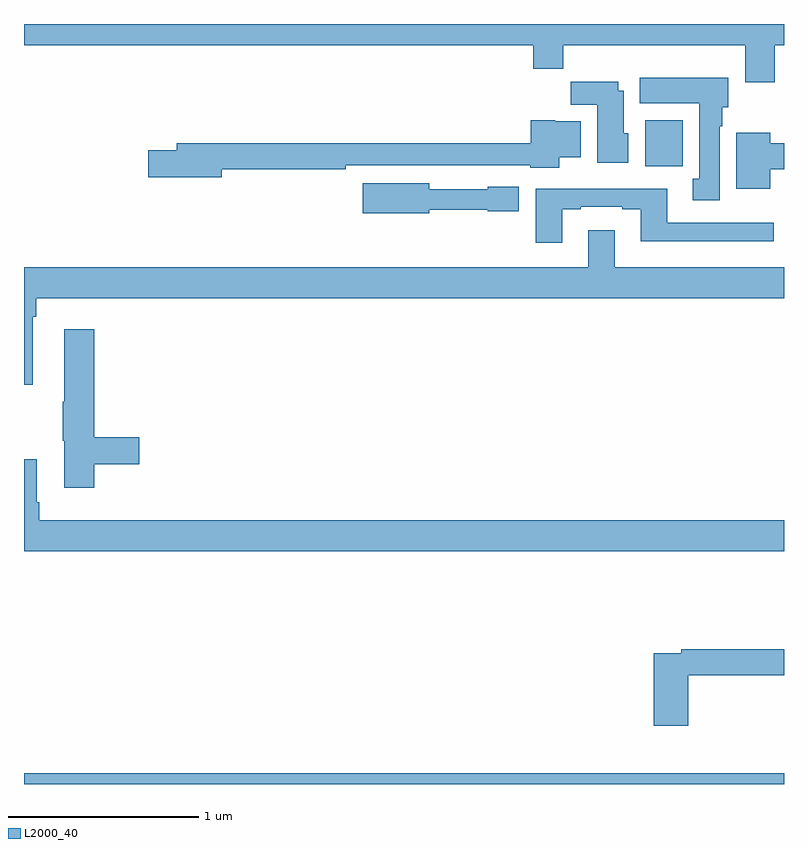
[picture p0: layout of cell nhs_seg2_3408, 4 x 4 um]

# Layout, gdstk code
import gdstk
lib = gdstk.Library(unit=1e-6, precision=1e-09)
def R(c, l, rs):  # rectangles x0, y0, x1, y1
    for r in rs: c.add(gdstk.rectangle(r[:2], r[2:], *l))
def P(c, l, *ps):  # polygons
    for p in ps: c.add(gdstk.Polygon(p, *l))
L2000_40 = (2000, 40)

nhs_seg2_3408 = lib.new_cell('nhs_seg2_3408')
R(nhs_seg2_3408, L2000_40, [(291,591.8,295,591.856), (294.269,595.052,294.466,595.294)])
P(nhs_seg2_3408, L2000_40, [(294.95,595.688),(295,595.688),(295,595.8),(291,595.8),(291,595.688),(293.681,595.688),(293.681,595.564),(293.837,595.564),(293.837,595.688),(294.797,595.688),(294.797,595.494),(294.95,595.494)],
  [(294.661,595.262),(294.676,595.262),(294.676,595.362),(294.706,595.362),(294.706,595.516),(294.242,595.516),(294.242,595.382),(294.554,595.382),(294.554,594.986),(294.521,594.986),(294.521,594.873),(294.661,594.873)],
  [(294.181,595.224),(294.157,595.224),(294.157,595.45),(294.127,595.45),(294.127,595.495),(293.878,595.495),(293.878,595.376),(294.017,595.376),(294.017,595.07),(294.181,595.07)],
  [(292.042,595.036),(292.694,595.036),(292.694,595.056),(293.664,595.056),(293.664,595.043),(293.818,595.043),(293.818,595.1),(293.929,595.1),(293.929,595.288),(293.796,595.288),(293.796,595.294),(293.666,595.294),(293.666,595.172),(291.803,595.172),(291.803,595.136),(291.654,595.136),(291.654,594.994),(292.042,594.994)],
  [(294.928,595.036),(295,595.036),(295,595.172),(294.928,595.172),(294.928,595.228),(294.749,595.228),(294.749,594.932),(294.928,594.932)],
  [(293.134,594.822),(293.442,594.822),(293.442,594.814),(293.605,594.814),(293.605,594.943),(293.442,594.943),(293.442,594.93),(293.134,594.93),(293.134,594.961),(292.782,594.961),(292.782,594.803),(293.134,594.803)],
  [(293.833,594.825),(293.929,594.825),(293.929,594.837),(294.149,594.837),(294.149,594.825),(294.245,594.825),(294.245,594.656),(294.946,594.656),(294.946,594.753),(294.385,594.753),(294.385,594.934),(293.693,594.934),(293.693,594.648),(293.833,594.648)],
  [(291.046,594.26),(291.065,594.26),(291.065,594.356),(295,594.356),(295,594.52),(294.109,594.52),(294.109,594.715),(293.969,594.715),(293.969,594.52),(291,594.52),(291,593.901),(291.046,593.901)],
  [(291.371,593.482),(291.607,593.482),(291.607,593.624),(291.371,593.624),(291.371,594.193),(291.212,594.193),(291.212,593.813),(291.205,593.813),(291.205,593.607),(291.212,593.607),(291.212,593.358),(291.371,593.358)],
  [(295,593.188),(291.08,593.188),(291.08,593.284),(291.067,593.284),(291.067,593.509),(291,593.509),(291,593.024),(295,593.024)],
  [(294.497,592.372),(295,592.372),(295,592.508),(294.46,592.508),(294.46,592.488),(294.314,592.488),(294.314,592.107),(294.497,592.107)])

lib.write_gds('nhs_seg2_3408.gds')
